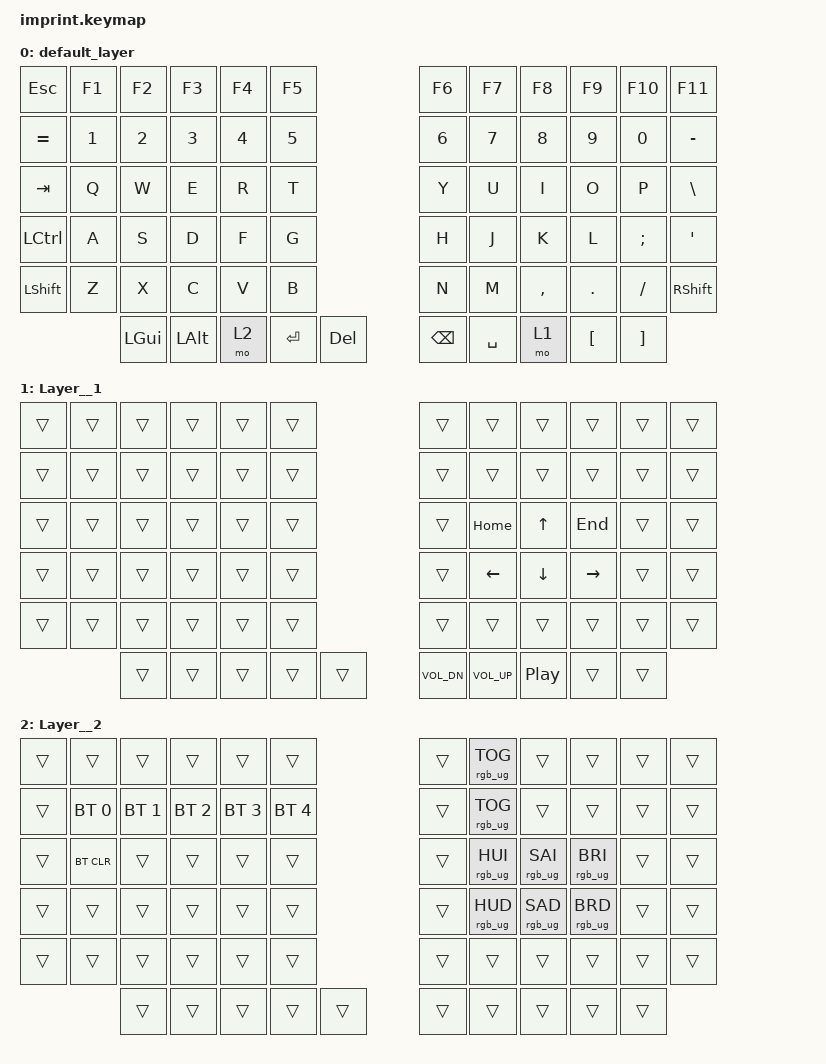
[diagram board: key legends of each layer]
#include <behaviors.dtsi>
#include <dt-bindings/zmk/bt.h>
#include <dt-bindings/zmk/keys.h>
#include <dt-bindings/zmk/outputs.h>
#include <dt-bindings/zmk/rgb.h>
#include <dt-bindings/zmk/ext_power.h>

/ {
    chosen { zmk,matrix-transform = &legacy_single_arc_imprint;
    };
    keymap {
        compatible = "zmk,keymap";

        default_layer {
            bindings = <
 &kp ESC    &kp F1    &kp F2    &kp F3    &kp F4  &kp F5                                         &kp F6      &kp F7     &kp F8    &kp F9   &kp F10  &kp F11
 &kp EQUAL    &kp N1    &kp N2    &kp N3    &kp N4  &kp N5                                         &kp N6      &kp N7     &kp N8    &kp N9   &kp N0   &kp MINUS
 &kp TAB    &kp Q     &kp W     &kp E     &kp R   &kp T                                          &kp Y       &kp U      &kp I     &kp O    &kp P    &kp BSLH
 &kp LCTRL  &kp A     &kp S     &kp D     &kp F   &kp G                                          &kp H       &kp J      &kp K     &kp L    &kp SEMI &kp SQT
 &kp LSHFT  &kp Z     &kp X     &kp C     &kp V   &kp B                                          &kp N       &kp M      &kp COMMA &kp DOT  &kp FSLH &kp RSHFT
                      &kp LGUI  &kp LALT          &mo 2  &kp RET  &kp DEL  &kp BSPC  &kp SPACE   &mo 1              &kp LBKT  &kp RBKT
            >;
        };

        Layer__1 {
            bindings = <
 &trans  &trans  &trans  &trans  &trans  &trans                                     &trans  &trans   &trans   &trans    &trans  &trans
 &trans  &trans  &trans  &trans  &trans  &trans                                     &trans  &trans   &trans   &trans    &trans  &trans
 &trans  &trans  &trans  &trans  &trans  &trans                                     &trans  &kp HOME &kp UP   &kp END   &trans  &trans
 &trans  &trans  &trans  &trans  &trans  &trans                                     &trans  &kp LEFT &kp DOWN &kp RIGHT &trans  &trans
 &trans  &trans  &trans  &trans  &trans  &trans                                     &trans  &trans   &trans   &trans    &trans  &trans
                 &trans  &trans          &trans  &trans &trans       &kp C_VOL_DN &kp C_VOL_UP &kp C_PP           &trans   &trans
            >;
        };

        Layer__2 {
            bindings = <
 &trans  &trans  &trans  &trans  &trans  &trans                                     &trans  &rgb_ug RGB_TOG  &trans  &trans  &trans  &trans
 &trans  &bt BT_SEL 0  &bt BT_SEL 1  &bt BT_SEL 2  &bt BT_SEL 3  &bt BT_SEL 4       &trans  &rgb_ug RGB_TOG  &trans  &trans  &trans  &trans
 &trans  &bt BT_CLR  &trans  &trans  &trans  &trans                                 &trans  &rgb_ug RGB_HUI  &rgb_ug RGB_SAI  &rgb_ug RGB_BRI  &trans  &trans
 &trans  &trans  &trans  &trans  &trans  &trans                                     &trans  &rgb_ug RGB_HUD  &rgb_ug RGB_SAD  &rgb_ug RGB_BRD  &trans  &trans
 &trans  &trans  &trans  &trans  &trans  &trans                                     &trans  &trans  &trans  &trans  &trans  &trans
                 &trans  &trans          &trans  &trans &trans        &trans &trans &trans          &trans  &trans
            >;
        };
    };
};
